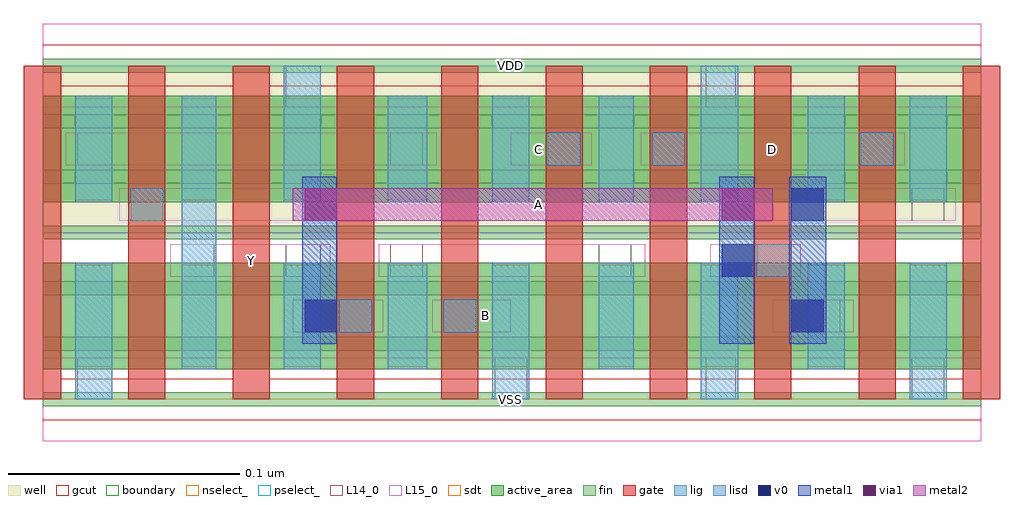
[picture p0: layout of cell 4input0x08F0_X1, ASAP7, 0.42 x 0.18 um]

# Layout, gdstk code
import gdstk
lib = gdstk.Library(unit=1e-6, precision=1e-09)
def R(c, l, rs):  # rectangles x0, y0, x1, y1
    for r in rs: c.add(gdstk.rectangle(r[:2], r[2:], *l))
def A(c, l, x, y, w, h, nx, ny, dx, dy):  # array of equal rectangles
    R(c, l, [(x+i*dx, y+j*dy, x+i*dx+w, y+j*dy+h) for i in range(nx) for j in range(ny)])
def P(c, l, *ps):  # polygons
    for p in ps: c.add(gdstk.Polygon(p, *l))
well = (1, 0)
fin = (2, 0)
gate = (7, 0)
gcut = (10, 0)
active_area = (11, 0)
nselect_ = (12, 0)
pselect_ = (13, 0)
L14_0 = (14, 0)
L15_0 = (15, 0)
lig = (16, 0)
lisd = (17, 0)
v0 = (18, 0)
metal1 = (19, 0)
metal2 = (20, 0)
via1 = (21, 0)
sdt = (88, 0)
boundary = (100, 0)

c_4input0x08f0_x1 = lib.new_cell('4input0x08F0_X1')
R(c_4input0x08f0_x1, well, [(0,0.072,0.405,0.144)])
A(c_4input0x08f0_x1, fin, 0, -0.003, 0.405, 0.006, 1, 7, 0, 0.024)
A(c_4input0x08f0_x1, gate, -0.008, 0, 0.016, 0.144, 10, 1, 0.045, 0)
P(c_4input0x08f0_x1, gcut, [(0,-0.009),(0,0),(-0.008,0),(-0.008,0.135),(0.008,0.135),(0.008,0.009),(0.082,0.009),(0.082,0.135),(0.098,0.135),(0.098,0.009),(0.397,0.009),(0.397,0.135),(-0.008,0.135),(-0.008,0.144),(0,0.144),(0,0.153),(0.405,0.153),(0.405,0.144),(0.413,0.144),(0.413,0),(0.405,0),(0.405,-0.009)])
R(c_4input0x08f0_x1, active_area, [(0,0.013,0.405,0.059), (0,0.085,0.405,0.131)])
R(c_4input0x08f0_x1, nselect_, [(0,0,0.405,0.072)])
R(c_4input0x08f0_x1, pselect_, [(0,0.072,0.405,0.144)])
A(c_4input0x08f0_x1, L14_0, 0.06, 0.053, 0.014, 0.014, 3, 1, 0.09, 0)
R(c_4input0x08f0_x1, L14_0, [(0.015,0,0.03,0.018), (0.195,0,0.209,0.018), (0.286,0,0.299,0.018), (0.375,0,0.389,0.018), (0.128,0.029,0.142,0.043), (0.173,0.029,0.187,0.043), (0.33,0.029,0.344,0.043), (0.105,0.053,0.12,0.067), (0.308,0.053,0.322,0.067), (0.038,0.077,0.052,0.091), (0.375,0.077,0.389,0.091), (0.015,0.101,0.03,0.115), (0.15,0.101,0.164,0.115), (0.218,0.101,0.232,0.115), (0.263,0.101,0.277,0.115), (0.353,0.101,0.367,0.115), (0.105,0.126,0.12,0.144), (0.286,0.126,0.299,0.144)])
R(c_4input0x08f0_x1, L15_0, [(0,-0.018,0.405,0.018), (0.108,0.029,0.147,0.043), (0.168,0.029,0.202,0.043), (0.315,0.029,0.35,0.043), (0.055,0.053,0.124,0.067), (0.145,0.053,0.26,0.067), (0.288,0.053,0.327,0.067), (0.033,0.077,0.394,0.091), (0.01,0.101,0.17,0.115), (0.202,0.101,0.237,0.115), (0.258,0.101,0.372,0.115), (0,0.126,0.405,0.162)])
R(c_4input0x08f0_x1, lig, [(0.128,0.029,0.142,0.043), (0.173,0.029,0.187,0.043), (0.308,0.053,0.322,0.067), (0.038,0.077,0.052,0.091), (0.218,0.101,0.232,0.115), (0.263,0.101,0.277,0.115), (0.353,0.101,0.367,0.115)])
A(c_4input0x08f0_x1, lisd, 0.194, 0, 0.016, 0.059, 3, 1, 0.09, 0)
R(c_4input0x08f0_x1, lisd, [(0.014,0,0.03,0.059), (0.06,0.013,0.075,0.131), (0.104,0.013,0.12,0.059), (0.149,0.013,0.166,0.059), (0.24,0.013,0.255,0.059), (0.33,0.013,0.346,0.059), (0.014,0.085,0.03,0.131), (0.104,0.085,0.12,0.144), (0.149,0.085,0.166,0.131), (0.194,0.085,0.21,0.131), (0.24,0.085,0.255,0.131), (0.284,0.085,0.3,0.144), (0.33,0.085,0.346,0.131), (0.374,0.085,0.39,0.131)])
R(c_4input0x08f0_x1, v0, [(0.113,0.029,0.127,0.043), (0.323,0.029,0.337,0.043), (0.293,0.053,0.307,0.067), (0.323,0.077,0.337,0.091)])
R(c_4input0x08f0_x1, metal1, [(0.112,0.024,0.127,0.096), (0.292,0.024,0.307,0.096), (0.322,0.024,0.338,0.096)])
R(c_4input0x08f0_x1, metal2, [(0.108,0.077,0.315,0.091)])
R(c_4input0x08f0_x1, via1, [(0.113,0.077,0.127,0.091), (0.293,0.077,0.307,0.091)])
A(c_4input0x08f0_x1, sdt, 0.014, 0.014, 0.016, 0.044, 4, 2, 0.09, 0.072)
R(c_4input0x08f0_x1, sdt, [(0.06,0.014,0.075,0.058), (0.149,0.014,0.166,0.058), (0.24,0.014,0.255,0.058), (0.33,0.014,0.346,0.058), (0.374,0.014,0.39,0.058), (0.06,0.086,0.075,0.13), (0.149,0.086,0.166,0.13), (0.24,0.086,0.255,0.13), (0.33,0.086,0.346,0.13), (0.374,0.086,0.39,0.13)])
R(c_4input0x08f0_x1, boundary, [(0,0,0.405,0.144)])
c_4input0x08f0_x1.add(gdstk.Label('VSS', (0.202,0), layer=15, texttype=251))
c_4input0x08f0_x1.add(gdstk.Label('VDD', (0.202,0.144), layer=15, texttype=251))
c_4input0x08f0_x1.add(gdstk.Label('D', (0.315,0.108), layer=15, texttype=251))
c_4input0x08f0_x1.add(gdstk.Label('VSS', (0.202,0), layer=15, texttype=251))
c_4input0x08f0_x1.add(gdstk.Label('VDD', (0.202,0.144), layer=15, texttype=251))
c_4input0x08f0_x1.add(gdstk.Label('B', (0.191,0.036), layer=15, texttype=251))
c_4input0x08f0_x1.add(gdstk.Label('VSS', (0.202,0), layer=15, texttype=251))
c_4input0x08f0_x1.add(gdstk.Label('VDD', (0.202,0.144), layer=15, texttype=251))
c_4input0x08f0_x1.add(gdstk.Label('C', (0.214,0.108), layer=15, texttype=251))
c_4input0x08f0_x1.add(gdstk.Label('VSS', (0.202,0), layer=15, texttype=251))
c_4input0x08f0_x1.add(gdstk.Label('VDD', (0.202,0.144), layer=15, texttype=251))
c_4input0x08f0_x1.add(gdstk.Label('Y', (0.09,0.06), layer=15, texttype=251))
c_4input0x08f0_x1.add(gdstk.Label('VSS', (0.202,0), layer=15, texttype=251))
c_4input0x08f0_x1.add(gdstk.Label('VDD', (0.202,0.144), layer=15, texttype=251))
c_4input0x08f0_x1.add(gdstk.Label('A', (0.214,0.084), layer=20, texttype=251))
c_4input0x08f0_x1.add(gdstk.Label('VSS', (0.202,0), layer=3, texttype=251))
c_4input0x08f0_x1.add(gdstk.Label('VSS', (0.202,0), layer=3, texttype=251))
c_4input0x08f0_x1.add(gdstk.Label('VSS', (0.202,0), layer=3, texttype=251))
c_4input0x08f0_x1.add(gdstk.Label('VSS', (0.202,0), layer=3, texttype=251))
c_4input0x08f0_x1.add(gdstk.Label('VSS', (0.202,0), layer=3, texttype=251))
c_4input0x08f0_x1.add(gdstk.Label('VDD', (0.202,0.144), layer=1, texttype=251))
c_4input0x08f0_x1.add(gdstk.Label('VDD', (0.202,0.144), layer=1, texttype=251))
c_4input0x08f0_x1.add(gdstk.Label('VDD', (0.202,0.144), layer=1, texttype=251))
c_4input0x08f0_x1.add(gdstk.Label('VDD', (0.202,0.144), layer=1, texttype=251))
c_4input0x08f0_x1.add(gdstk.Label('VDD', (0.202,0.144), layer=1, texttype=251))

lib.write_gds('4input0x08F0_X1.gds')
